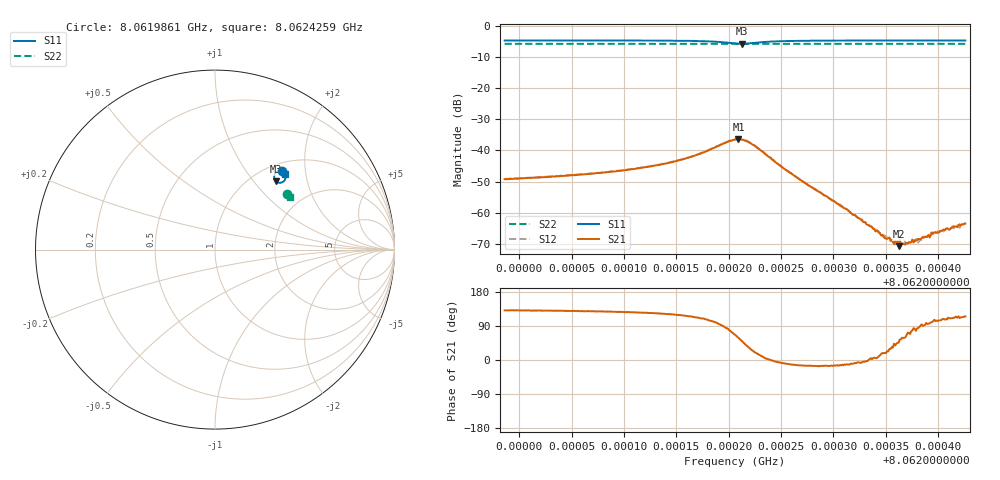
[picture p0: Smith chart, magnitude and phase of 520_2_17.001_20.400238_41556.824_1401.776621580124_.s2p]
#  HZ  S  RI  R  50.00
! Rohde & Schwarz Vector Network Analyzer
! Rohde-Schwarz,ZNB20-2Port,1311601062101988,3.16
! Created: UTC 3/20/2024, 11:15:22 PM
! freq[Hz]  re:S11  im:S11  re:S21  im:S21  re:S12  im:S12  re:S22  im:S22
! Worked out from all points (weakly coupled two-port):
!   401 points, 8.0619861 GHz to 8.0624259 GHz, reference 50 ohm
!   highest |S21| = -36.44 dB at 8.0622093 GHz (marker M1); lowest = -70.7 dB at 8.0623621 GHz (marker M2)
!   lowest |S11| = -5.8 dB at 8.0622126 GHz (marker M3), VSWR 3.08, Z = 63.7 + j65.6 ohm
!   |S11| at or under -10 dB: nowhere
!   |S22| runs from -5.9 to -5.9 dB; largest |S21 - S12| = 0.0011
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8.06198608e9  0.376 0.4363  -0.00226 0.0026  -0.00212 0.00273  0.4025 0.3121
8.06205975e9  0.382 0.4306  -0.0026 0.00319  -0.00237 0.00336  0.4052 0.3083
8.06210154e9  0.386 0.4257  -0.00286 0.00388  -0.00262 0.00406  0.4067 0.306
8.06213342e9  0.3897 0.4197  -0.00318 0.00492  -0.0029 0.00512  0.408 0.3044
8.06216641e9  0.3933 0.407  -0.00327 0.00743  -0.00282 0.00771  0.4089 0.3023
8.062206e9  0.3578 0.3724  0.00592 0.0137  0.00675 0.0134  0.4081 0.2992
8.0622093e9  0.3486 0.3749  0.00787 0.0128  0.00867 0.0124  0.408 0.2992
8.0622126e9  0.3402 0.3804  0.00959 0.0114  0.0104 0.0108  0.4078 0.2994
8.06222359e9  0.33 0.4083  0.0111 0.00479  0.0116 0.00423  0.4082 0.3004
8.06225328e9  0.3565 0.4355  0.00495 -0.000816  0.00497 -0.00116  0.4107 0.2997
8.06227967e9  0.3692 0.4351  0.00245 -0.000677  0.00239 -0.000854  0.4121 0.2983
8.06231266e9  0.3775 0.4322  0.00111 -0.000229  0.00109 -0.000296  0.4134 0.2965
8.06234785e9  0.3828 0.4293  0.000395 0.000127  0.000397 9.32e-05  0.4149 0.2946
8.06235335e9  0.3833 0.4291  0.00035 0.000192  0.000359 0.000167  0.415 0.2944
8.06235995e9  0.384 0.4284  0.000246 0.000226  0.000276 0.000207  0.4153 0.2938
8.06236215e9  0.3843 0.4283  0.000203 0.000208  0.000257 0.000225  0.4155 0.2938
8.06236874e9  0.385 0.4278  0.000155 0.000268  0.000179 0.000279  0.4155 0.2935
8.06237094e9  0.3853 0.4275  9.72e-05 0.000306  0.000142 0.000298  0.4157 0.2933
8.06237754e9  0.3858 0.4272  4.84e-05 0.000358  0.000112 0.000343  0.4159 0.2932
8.06238304e9  0.3864 0.4268  2.08e-06 0.000377  4.35e-05 0.000377  0.416 0.2928
8.06239514e9  0.3875 0.426  -9.53e-05 0.000451  -6.54e-05 0.000451  0.4166 0.292
8.06242592e9  0.3901 0.4239  -0.000283 0.000608  -0.000234 0.000629  0.4176 0.2904
